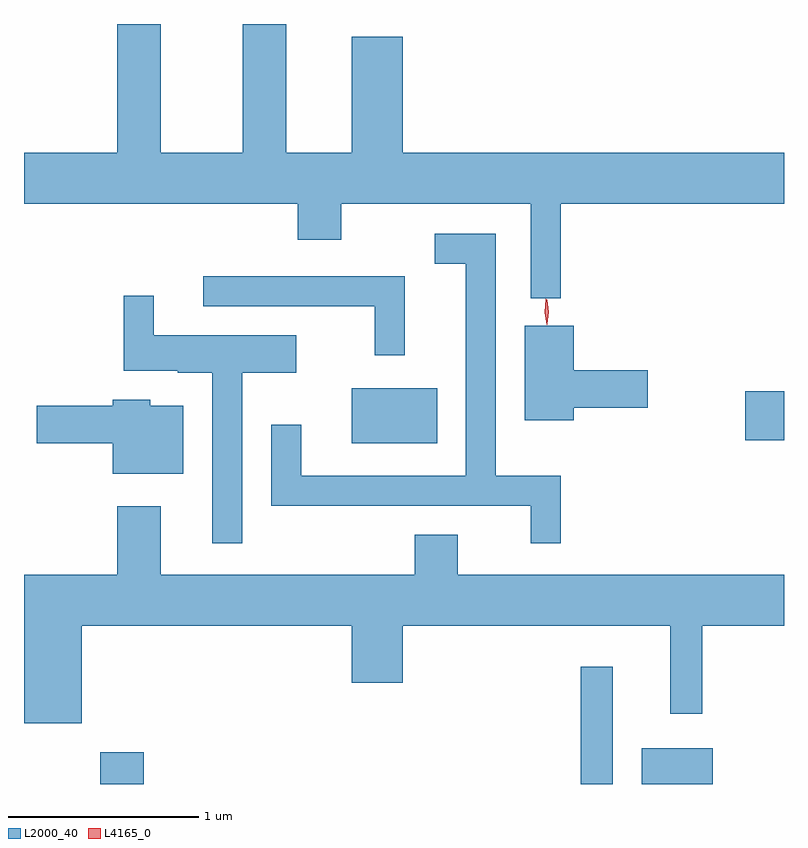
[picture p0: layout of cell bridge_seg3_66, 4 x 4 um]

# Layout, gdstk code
import gdstk
lib = gdstk.Library(unit=1e-6, precision=1e-09)
def R(c, l, rs):  # rectangles x0, y0, x1, y1
    for r in rs: c.add(gdstk.rectangle(r[:2], r[2:], *l))
def P(c, l, *ps):  # polygons
    for p in ps: c.add(gdstk.Polygon(p, *l))
L2000_40 = (2000, 40)
L4165_0 = (4165, 0)

bridge_seg3_66 = lib.new_cell('bridge_seg3_66')
R(bridge_seg3_66, L2000_40, [(1152.811,1147.382,1153.039,1147.549), (1155.341,1147.382,1155.509,1147.998), (1155.661,1147.382,1156.034,1147.569), (1154.136,1149.176,1154.584,1149.464), (1156.206,1149.191,1156.41,1149.449)])
P(bridge_seg3_66, L2000_40, [(1155.234,1150.436),(1156.41,1150.436),(1156.41,1150.704),(1154.404,1150.704),(1154.404,1151.314),(1154.136,1151.314),(1154.136,1150.704),(1153.789,1150.704),(1153.789,1151.382),(1153.561,1151.382),(1153.561,1150.704),(1153.129,1150.704),(1153.129,1151.382),(1152.901,1151.382),(1152.901,1150.704),(1152.41,1150.704),(1152.41,1150.436),(1153.851,1150.436),(1153.851,1150.246),(1154.079,1150.246),(1154.079,1150.436),(1155.076,1150.436),(1155.076,1149.938),(1155.234,1149.938)],
  [(1155.234,1149.004),(1154.894,1149.004),(1154.894,1150.279),(1154.573,1150.279),(1154.573,1150.121),(1154.736,1150.121),(1154.736,1149.004),(1153.869,1149.004),(1153.869,1149.273),(1153.711,1149.273),(1153.711,1148.846),(1155.076,1148.846),(1155.076,1148.648),(1155.234,1148.648)],
  [(1154.414,1150.054),(1153.353,1150.054),(1153.353,1149.896),(1154.256,1149.896),(1154.256,1149.638),(1154.414,1149.638)],
  [(1153.559,1149.546),(1153.844,1149.546),(1153.844,1149.744),(1153.094,1149.744),(1153.094,1149.953),(1152.936,1149.953),(1152.936,1149.556),(1153.22,1149.556),(1153.22,1149.546),(1153.401,1149.546),(1153.401,1148.648),(1153.559,1148.648)],
  [(1155.304,1149.361),(1155.694,1149.361),(1155.694,1149.559),(1155.304,1149.559),(1155.304,1149.794),(1155.046,1149.794),(1155.046,1149.296),(1155.304,1149.296)],
  [(1153.249,1149.374),(1153.074,1149.374),(1153.074,1149.404),(1152.876,1149.404),(1152.876,1149.374),(1152.476,1149.374),(1152.476,1149.176),(1152.876,1149.176),(1152.876,1149.016),(1153.249,1149.016)],
  [(1152.714,1148.216),(1154.136,1148.216),(1154.136,1147.916),(1154.404,1147.916),(1154.404,1148.216),(1155.811,1148.216),(1155.811,1147.753),(1155.979,1147.753),(1155.979,1148.216),(1156.41,1148.216),(1156.41,1148.484),(1154.694,1148.484),(1154.694,1148.694),(1154.466,1148.694),(1154.466,1148.484),(1153.129,1148.484),(1153.129,1148.844),(1152.901,1148.844),(1152.901,1148.484),(1152.41,1148.484),(1152.41,1147.701),(1152.714,1147.701)])
P(bridge_seg3_66, L4165_0, [(1155.162,1149.8),(1155.162,1149.801),(1155.152,1149.866),(1155.162,1149.931),(1155.162,1149.932),(1155.163,1149.931),(1155.172,1149.866),(1155.163,1149.801)],
  [(1155.162,1149.798),(1155.162,1149.798),(1155.15,1149.866),(1155.157,1149.934),(1155.157,1149.935),(1155.158,1149.934),(1155.17,1149.867),(1155.163,1149.798)])

lib.write_gds('bridge_seg3_66.gds')
